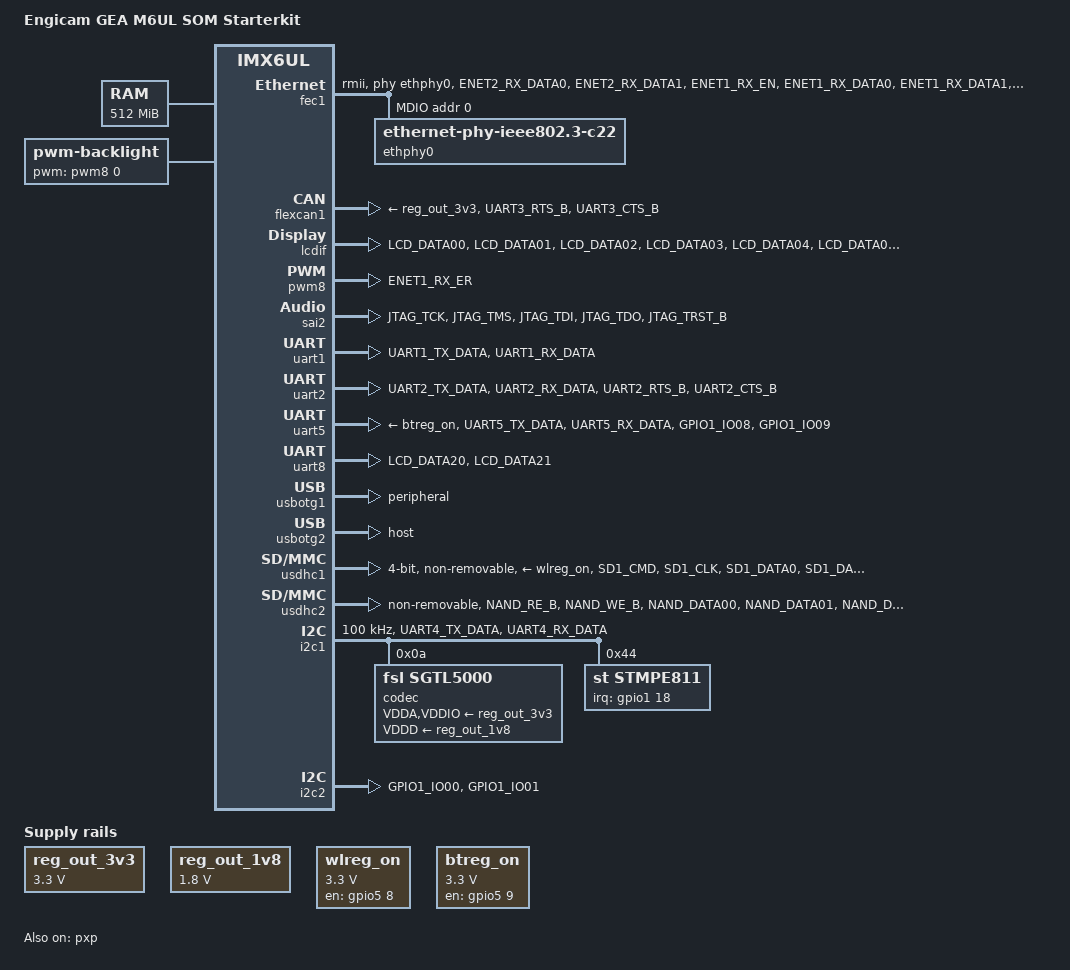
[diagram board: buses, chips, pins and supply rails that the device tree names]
/*
 * Copyright (C) 2015 Freescale Semiconductor, Inc.
 *
 * This program is free software; you can redistribute it and/or modify
 * it under the terms of the GNU General Public License version 2 as
 * published by the Free Software Foundation.
 */

/dts-v1/;

#include <dt-bindings/gpio/gpio.h>
#include <dt-bindings/input/input.h>
#include "imx6ul.dtsi"

/ {
	model = "Engicam GEA M6UL SOM Starterkit";
	compatible = "fsl,imx6ul-evk", "fsl,imx6ul";

	chosen {
		stdout-path = &uart1;
	};

	memory {
		reg = <0x80000000 0x20000000>;
	};

	backlight {
		compatible = "pwm-backlight";
		pwms = <&pwm8 0 100000>;
		brightness-levels = < 0  1  2  3  4  5  6  7  8  9
				     10 11 12 13 14 15 16 17 18 19
	   			     20 21 22 23 24 25 26 27 28 29
				     30 31 32 33 34 35 36 37 38 39
				     40 41 42 43 44 45 46 47 48 49
				     50 51 52 53 54 55 56 57 58 59
				     60 61 62 63 64 65 66 67 68 69
				     70 71 72 73 74 75 76 77 78 79
				     80 81 82 83 84 85 86 87 88 89
				     90 91 92 93 94 95 96 97 98 99
				    100>;
		default-brightness-level = <100>;
		status = "okay";
	};

	pxp_v4l2 {
		compatible = "fsl,imx6ul-pxp-v4l2", "fsl,imx6sx-pxp-v4l2", "fsl,imx6sl-pxp-v4l2";
		status = "okay";
	};

	regulators {
		compatible = "simple-bus";
		#address-cells = <1>;
		#size-cells = <0>;

		reg_out_3v3: regulator@0 {
			compatible = "regulator-fixed";
			reg = <0>;
			regulator-name = "out-3v3";
			regulator-min-microvolt = <3300000>;
			regulator-max-microvolt = <3300000>;
		};

		reg_out_1v8: regulator@1 {
			compatible = "regulator-fixed";
			reg = <1>;
			regulator-name = "out-1v8";
			regulator-min-microvolt = <1800000>;
			regulator-max-microvolt = <1800000>;
		};

		wlreg_on: fixedregulator@100 {
			compatible = "regulator-fixed";
			regulator-name = "wlreg_on";
			gpio = <&gpio5 8 0>;
			startup-delay-us = <100>;
			enable-active-high;
			regulator-min-microvolt = <3300000>;
			regulator-max-microvolt = <3300000>;
			regulator-always-on;
		};

		btreg_on: fixedregulator@200 {
			compatible = "regulator-fixed";
			regulator-name = "btreg_on";
			gpio = <&gpio5 9 0>;
			startup-delay-us = <100>;
			enable-active-high;
			regulator-min-microvolt = <3300000>;
			regulator-max-microvolt = <3300000>;
			regulator-always-on;
		};

	};

	sound {
		compatible = "fsl,imx6q-icore-sgtl5000",
			     "fsl,imx-audio-sgtl5000";
		model = "imx6q-icore-sgtl5000";
		cpu-dai = <&sai2>;
		audio-codec = <&codec>;
		asrc-controller = <&asrc>;
		codec-master;
		gpr = <&gpr>;
		audio-routing =
			"MIC_IN", "Mic Jack",
			"Mic Jack", "Mic Bias",
			"Headphone Jack", "HP_OUT";
	};

};

&cpu0 {
	arm-supply = <&reg_arm>;
	soc-supply = <&reg_soc>;
};

&clks {
	assigned-clocks = <&clks IMX6UL_CLK_PLL4_AUDIO_DIV>;
	assigned-clock-rates = <786432000>;
};

&fec1 {
	pinctrl-names = "default";
	pinctrl-0 = <&pinctrl_enet1>;
	phy-mode = "rmii";
	phy-handle = <&ethphy0>;
	status = "okay";

	mdio {
		#address-cells = <1>;
		#size-cells = <0>;

		ethphy0: ethernet-phy@0 {
			compatible = "ethernet-phy-ieee802.3-c22";
			reg = <0>;
		};
	};
};

&fec2 {
	status = "disabled";
};

&flexcan1 {
	pinctrl-names = "default";
	pinctrl-0 = <&pinctrl_flexcan1>;
	xceiver-supply = <&reg_out_3v3>;
	status = "okay";
};

&gpc {
	fsl,cpu_pupscr_sw2iso = <0x2>;
	fsl,cpu_pupscr_sw = <0x1>;
	fsl,cpu_pdnscr_iso2sw = <0x1>;
	fsl,cpu_pdnscr_iso = <0x1>;
	fsl,wdog-reset = <1>; /* watchdog select of reset source */
	fsl,ldo-bypass = <1>; /* use ldo-bypass, u-boot will check it and configure */
};

&lcdif {
	pinctrl-names = "default";
	pinctrl-0 = <&pinctrl_lcdif_dat
		     &pinctrl_lcdif_ctrl>;
	display = <&display0>;
	status = "okay";

	display0: display {
		bits-per-pixel = <16>;
		bus-width = <18>;

		display-timings {
			native-mode = <&timing0>;
			timing0: timing0 {
			clock-frequency = <28000000>;
			hactive = <800>;
			vactive = <480>;
			hfront-porch = <30>;
			hback-porch = <30>;
			hsync-len = <64>;
			vback-porch = <5>;
			vfront-porch = <5>;
			vsync-len = <20>;

			hsync-active = <0>;
			vsync-active = <0>;
			de-active = <1>;
			pixelclk-active = <0>;
			};
		};
	};
};


&pwm8 {
	pinctrl-names = "default";
	pinctrl-0 = <&pinctrl_pwm8>;
	status = "okay";
};


&pxp {
	status = "okay";
};

&sai2 {
	pinctrl-names = "default";
	pinctrl-0 = <&pinctrl_sai2>;
	status = "okay";
};

&uart1 {
	pinctrl-names = "default";
	pinctrl-0 = <&pinctrl_uart1>;
	status = "okay";
};

&uart2 {
	pinctrl-names = "default";
	pinctrl-0 = <&pinctrl_uart2>;
	fsl,uart-has-rtscts;
	/* for DTE mode, add below change */
	/* fsl,dte-mode; */
	/* pinctrl-0 = <&pinctrl_uart2dte>; */
	status = "okay";
};

&uart5 {
	pinctrl-names = "default";
	pinctrl-0 = <&pinctrl_uart5>;
	vmmc-supply = <&btreg_on>;
        fsl,uart-has-rtscts;
	status = "okay";
};

&uart8 {
	pinctrl-names = "default";
	pinctrl-0 = <&pinctrl_uart8>;
	status = "okay";
};


&usbotg1 {
	dr_mode = "peripheral";
	status = "okay";
};

&usbotg2 {
	dr_mode = "host";
	status = "okay";
};

&usdhc1 {
	pinctrl-names = "default";
	pinctrl-0 = <&pinctrl_usdhc1>;
        bus-width = <4>;
	no-1-8-v;
	non-removable;
	keep-power-in-suspend;
	enable-sdio-wakeup;
	vmmc-supply = <&wlreg_on>;
	wifi-host;
	status = "okay";
};


&usdhc2 {
	pinctrl-names = "default";
	pinctrl-0 = <&pinctrl_usdhc2>;
	no-1-8-v;
	keep-power-in-suspend;
	non-removable;
	status = "okay";
};

&i2c1 {
	clock-frequency = <100000>;
	pinctrl-names = "default";
	pinctrl-0 = <&pinctrl_i2c1>;
	status = "okay";

	codec: sgtl5000@0a {
		compatible = "fsl,sgtl5000";
		reg = <0x0a>;
		clocks = <&clks IMX6UL_CLK_OSC>;
		clock-names = "mclk";
		wlf,shared-lrclk;
		VDDA-supply = <&reg_out_3v3>;
		VDDIO-supply = <&reg_out_3v3>;
		VDDD-supply = <&reg_out_1v8>;
	};

	stmpe811@44 {
		compatible = "st,stmpe811";
		#address-cells = <1>;
		#size-cells = <0>;
		#interrupt-cells = <2>;
		reg = <0x44>;
		pinctrl-names = "default";		
		pinctrl-0 = <&pinctrl_stmpe_ts>;		
		interrupts = <18 2>;
		interrupt-parent = <&gpio1>;

		stmpe_touchscreen {
			compatible = "st,stmpe-ts";
			st,sample-time = <4>;
			st,mod-12b = <1>;
			st,ref-sel = <0>;
			st,adc-freq = <1>;
			st,ave-ctrl = <1>;
			st,touch-det-delay = <2>;
			st,settling = <2>;
			st,fraction-z = <7>;
			st,i-drive = <1>;
		};
	};

};

&i2c2 {
	clock_frequency = <100000>;
	pinctrl-names = "default";
	pinctrl-0 = <&pinctrl_i2c2>;
	status = "okay";
};


&iomuxc {
	touchpanel{
		pinctrl_stmpe_ts:  stmpe-tsgrp  {
			fsl,pins = <
				MX6UL_PAD_UART1_CTS_B__GPIO1_IO18 0x1b0b0 /*interrupt*/ 
			>;
		};
	};
};

&iomuxc {
	pinctrl-names = "default";
	pinctrl-0 = <&pinctrl_hog_1>;
	imx6ul-evk {
		pinctrl_hog_1: hoggrp-1 {
			fsl,pins = <
				MX6UL_PAD_SNVS_TAMPER8__GPIO5_IO08	0x13069 /* Wlan Enable*/
				MX6UL_PAD_SNVS_TAMPER9__GPIO5_IO09	0x17059 /* BT Enable*/
				MX6UL_PAD_GPIO1_IO03__REF_CLK_32K	0x17059 /* Wlan 32KHz reference*/
				/* SD2 pin as GPIO when eMMC is mounetd */
				MX6UL_PAD_CSI_VSYNC__GPIO4_IO19 	0x17059
				MX6UL_PAD_CSI_HSYNC__GPIO4_IO20		0x17059				
				MX6UL_PAD_CSI_DATA00__GPIO4_IO21	0x17059
				MX6UL_PAD_CSI_DATA01__GPIO4_IO22	0x17059
				MX6UL_PAD_CSI_DATA02__GPIO4_IO23	0x17059
				MX6UL_PAD_CSI_DATA03__GPIO4_IO24	0x17059
			>;
		};


		pinctrl_enet1: enet1grp {
			fsl,pins = <
				MX6UL_PAD_ENET2_RX_DATA0__ENET1_MDIO	0x1b0b0
				MX6UL_PAD_ENET2_RX_DATA1__ENET1_MDC	0x1b0b0
				MX6UL_PAD_ENET1_RX_EN__ENET1_RX_EN	0x1b0b0
				MX6UL_PAD_ENET1_RX_DATA0__ENET1_RDATA00	0x1b0b0
				MX6UL_PAD_ENET1_RX_DATA1__ENET1_RDATA01	0x1b0b0
				MX6UL_PAD_ENET1_TX_EN__ENET1_TX_EN	0x1b0b0
				MX6UL_PAD_ENET1_TX_DATA0__ENET1_TDATA00	0x1b0b0
				MX6UL_PAD_ENET1_TX_DATA1__ENET1_TDATA01	0x1b0b0
				MX6UL_PAD_ENET1_TX_CLK__ENET1_REF_CLK1	0x4001b031
				MX6UL_PAD_ENET2_RX_EN__GPIO2_IO10	0x1b0b0
			>;
		};

		pinctrl_enet2: enet2grp {
			fsl,pins = <
				MX6UL_PAD_GPIO1_IO07__ENET2_MDC		0x1b0b0
				MX6UL_PAD_GPIO1_IO06__ENET2_MDIO	0x1b0b0
				MX6UL_PAD_ENET2_RX_EN__ENET2_RX_EN	0x1b0b0
				MX6UL_PAD_ENET2_RX_ER__GPIO2_IO15	0x1b0b0		/* ENET_nRST */
				MX6UL_PAD_ENET2_RX_DATA0__ENET2_RDATA00	0x1b0b0
				MX6UL_PAD_ENET2_RX_DATA1__ENET2_RDATA01	0x1b0b0
				MX6UL_PAD_ENET2_TX_EN__ENET2_TX_EN	0x1b0b0
				MX6UL_PAD_ENET2_TX_DATA0__ENET2_TDATA00	0x1b0b0
				MX6UL_PAD_ENET2_TX_DATA1__ENET2_TDATA01	0x1b0b0
				MX6UL_PAD_GPIO1_IO05__ENET2_REF_CLK2	0x4001b031
			>;
		};

		pinctrl_flexcan1: flexcan1grp{
			fsl,pins = <
				MX6UL_PAD_UART3_RTS_B__FLEXCAN1_RX	0x1b020
				MX6UL_PAD_UART3_CTS_B__FLEXCAN1_TX	0x1b020
			>;
		};


		pinctrl_lcdif_dat: lcdifdatgrp {
			fsl,pins = <
				MX6UL_PAD_LCD_DATA00__LCDIF_DATA00  0x79
				MX6UL_PAD_LCD_DATA01__LCDIF_DATA01  0x79
				MX6UL_PAD_LCD_DATA02__LCDIF_DATA02  0x79
				MX6UL_PAD_LCD_DATA03__LCDIF_DATA03  0x79
				MX6UL_PAD_LCD_DATA04__LCDIF_DATA04  0x79
				MX6UL_PAD_LCD_DATA05__LCDIF_DATA05  0x79
				MX6UL_PAD_LCD_DATA06__LCDIF_DATA06  0x79
				MX6UL_PAD_LCD_DATA07__LCDIF_DATA07  0x79
				MX6UL_PAD_LCD_DATA08__LCDIF_DATA08  0x79
				MX6UL_PAD_LCD_DATA09__LCDIF_DATA09  0x79
				MX6UL_PAD_LCD_DATA10__LCDIF_DATA10  0x79
				MX6UL_PAD_LCD_DATA11__LCDIF_DATA11  0x79
				MX6UL_PAD_LCD_DATA12__LCDIF_DATA12  0x79
				MX6UL_PAD_LCD_DATA13__LCDIF_DATA13  0x79
				MX6UL_PAD_LCD_DATA14__LCDIF_DATA14  0x79
				MX6UL_PAD_LCD_DATA15__LCDIF_DATA15  0x79
				MX6UL_PAD_LCD_DATA16__LCDIF_DATA16  0x79
				MX6UL_PAD_LCD_DATA17__LCDIF_DATA17  0x79

			>;
		};

		pinctrl_lcdif_ctrl: lcdifctrlgrp {
			fsl,pins = <
				MX6UL_PAD_LCD_CLK__LCDIF_CLK	    0x79
				MX6UL_PAD_LCD_ENABLE__LCDIF_ENABLE  0x79
				MX6UL_PAD_LCD_HSYNC__LCDIF_HSYNC    0x79
				MX6UL_PAD_LCD_VSYNC__LCDIF_VSYNC    0x79
			>;
		};


		pinctrl_pwm8: pwm8grp {
			fsl,pins = <
				MX6UL_PAD_ENET1_RX_ER__PWM8_OUT   0x110b0
			>;
		};

		pinctrl_uart1: uart1grp {
			fsl,pins = <
				MX6UL_PAD_UART1_TX_DATA__UART1_DCE_TX 0x1b0b1
				MX6UL_PAD_UART1_RX_DATA__UART1_DCE_RX 0x1b0b1
			>;
		};

		pinctrl_uart2: uart2grp {
			fsl,pins = <
				MX6UL_PAD_UART2_TX_DATA__UART2_DCE_TX	0x1b0b1
				MX6UL_PAD_UART2_RX_DATA__UART2_DCE_RX	0x1b0b1
				MX6UL_PAD_UART2_RTS_B__UART2_DCE_RTS	0x1b0b1
				MX6UL_PAD_UART2_CTS_B__UART2_DCE_CTS	0x1b0b1
			>;
		};

		pinctrl_uart5: uart5grp {
			fsl,pins = <
				MX6UL_PAD_UART5_TX_DATA__UART5_DCE_TX	0x1b0b1
				MX6UL_PAD_UART5_RX_DATA__UART5_DCE_RX	0x1b0b1
				MX6UL_PAD_GPIO1_IO08__UART5_DCE_RTS	0x1b0b1
				MX6UL_PAD_GPIO1_IO09__UART5_DCE_CTS	0x1b0b1
			>;
		};

		pinctrl_uart8: uart8grp {
			fsl,pins = <
				MX6UL_PAD_LCD_DATA20__UART8_DCE_TX	0x1b0b1
				MX6UL_PAD_LCD_DATA21__UART8_DCE_RX	0x1b0b1
			>;
		};

		pinctrl_uart2dte: uart2dtegrp {
			fsl,pins = <
				MX6UL_PAD_UART2_TX_DATA__UART2_DTE_RX	0x1b0b1
				MX6UL_PAD_UART2_RX_DATA__UART2_DTE_TX	0x1b0b1
				MX6UL_PAD_UART3_RX_DATA__UART2_DTE_CTS	0x1b0b1
				MX6UL_PAD_UART3_TX_DATA__UART2_DTE_RTS	0x1b0b1
			>;
		};

		pinctrl_usdhc1: usdhc1grp {
			fsl,pins = <
				MX6UL_PAD_SD1_CMD__USDHC1_CMD     0x17059
				MX6UL_PAD_SD1_CLK__USDHC1_CLK     0x10059
				MX6UL_PAD_SD1_DATA0__USDHC1_DATA0 0x17059
				MX6UL_PAD_SD1_DATA1__USDHC1_DATA1 0x17059
				MX6UL_PAD_SD1_DATA2__USDHC1_DATA2 0x17059
				MX6UL_PAD_SD1_DATA3__USDHC1_DATA3 0x17059
			>;
		};

		pinctrl_usdhc1_100mhz: usdhc1grp100mhz {
			fsl,pins = <
				MX6UL_PAD_SD1_CMD__USDHC1_CMD     0x170b9
				MX6UL_PAD_SD1_CLK__USDHC1_CLK     0x100b9
				MX6UL_PAD_SD1_DATA0__USDHC1_DATA0 0x170b9
				MX6UL_PAD_SD1_DATA1__USDHC1_DATA1 0x170b9
				MX6UL_PAD_SD1_DATA2__USDHC1_DATA2 0x170b9
				MX6UL_PAD_SD1_DATA3__USDHC1_DATA3 0x170b9
			>;
		};

		pinctrl_usdhc1_200mhz: usdhc1grp200mhz {
			fsl,pins = <
				MX6UL_PAD_SD1_CMD__USDHC1_CMD     0x170f9
				MX6UL_PAD_SD1_CLK__USDHC1_CLK     0x100f9
				MX6UL_PAD_SD1_DATA0__USDHC1_DATA0 0x170f9
				MX6UL_PAD_SD1_DATA1__USDHC1_DATA1 0x170f9
				MX6UL_PAD_SD1_DATA2__USDHC1_DATA2 0x170f9
				MX6UL_PAD_SD1_DATA3__USDHC1_DATA3 0x170f9
			>;
		};

		pinctrl_usdhc2: usdhc2grp {
			fsl,pins = <
				MX6UL_PAD_NAND_RE_B__USDHC2_CLK     0x17070
				MX6UL_PAD_NAND_WE_B__USDHC2_CMD     0x10070
				MX6UL_PAD_NAND_DATA00__USDHC2_DATA0  0x17070
				MX6UL_PAD_NAND_DATA01__USDHC2_DATA1  0x17070
				MX6UL_PAD_NAND_DATA02__USDHC2_DATA2  0x17070
				MX6UL_PAD_NAND_DATA03__USDHC2_DATA3  0x17070
				MX6UL_PAD_NAND_DATA04__USDHC2_DATA4  0x17070
				MX6UL_PAD_NAND_DATA05__USDHC2_DATA5  0x17070
				MX6UL_PAD_NAND_DATA06__USDHC2_DATA6  0x17070
				MX6UL_PAD_NAND_DATA07__USDHC2_DATA7  0x17070
				MX6UL_PAD_NAND_ALE__USDHC2_RESET_B   0x17070
			>;
		};

		pinctrl_i2c1: i2c1grp {
			fsl,pins = <
				MX6UL_PAD_UART4_TX_DATA__I2C1_SCL 0x4001b8b0
				MX6UL_PAD_UART4_RX_DATA__I2C1_SDA 0x4001b8b0
			>;
		};

		pinctrl_i2c2: i2c2grp {
			fsl,pins = <
				MX6UL_PAD_GPIO1_IO00__I2C2_SCL 0x4001b8b0
				MX6UL_PAD_GPIO1_IO01__I2C2_SDA 0x4001b8b0
			>;
		};

		pinctrl_ecspi: ecspigrp {
			fsl,pins = <
				MX6UL_PAD_CSI_DATA04__ECSPI1_SCLK      	0x70a1
				MX6UL_PAD_CSI_DATA05__ECSPI1_SS0 	0x70a1
				MX6UL_PAD_CSI_DATA06__ECSPI1_MOSI   	0x70a1
				MX6UL_PAD_CSI_DATA07__ECSPI1_MISO   	0x70a1
			>;
		};

		pinctrl_sai2: sai2grp {
			fsl,pins = <
				MX6UL_PAD_JTAG_TCK__SAI2_RX_DATA	0x130b0
				MX6UL_PAD_JTAG_TMS__CCM_CLKO1		0x4001b031
				MX6UL_PAD_JTAG_TDI__SAI2_TX_BCLK	0x17088
				MX6UL_PAD_JTAG_TDO__SAI2_TX_SYNC	0x17088
				MX6UL_PAD_JTAG_TRST_B__SAI2_TX_DATA	0x120b0
			>;
		};

		pinctrl_spi4: spi4grp {
			fsl,pins = <
				MX6UL_PAD_BOOT_MODE0__GPIO5_IO10	0x70a1
				MX6UL_PAD_BOOT_MODE1__GPIO5_IO11	0x70a1
				MX6UL_PAD_SNVS_TAMPER7__GPIO5_IO07	0x70a1
				MX6UL_PAD_SNVS_TAMPER8__GPIO5_IO08	0x80000000
			>;
		};
	};
};
